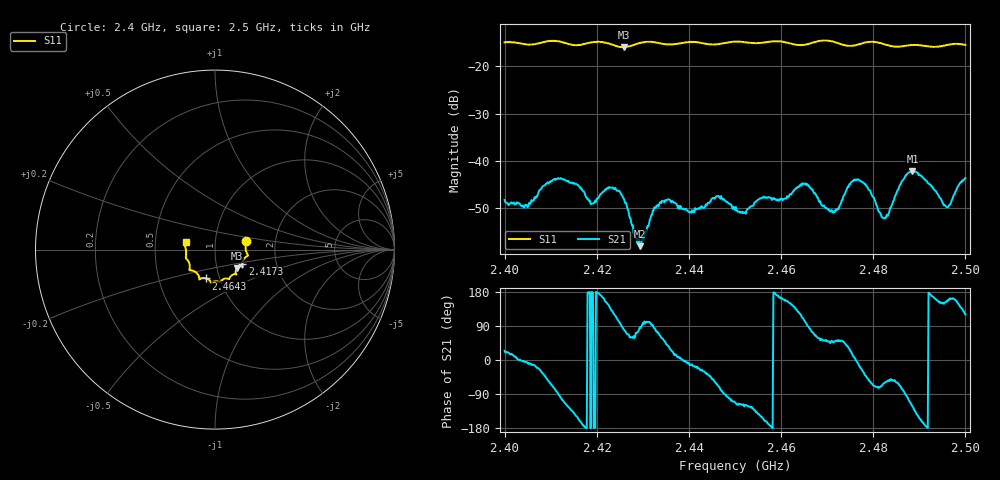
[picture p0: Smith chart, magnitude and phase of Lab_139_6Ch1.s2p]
# Hz S RI R 50
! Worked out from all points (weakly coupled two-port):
!   601 points, 2.4 GHz to 2.5 GHz, reference 50 ohm
!   highest |S21| = -42.17 dB at 2.4885 GHz (marker M1); lowest = -58.2 dB at 2.4293 GHz (marker M2)
!   lowest |S11| = -15.9 dB at 2.4258 GHz (marker M3), VSWR 1.38, Z = 62.3 - j13.3 ohm
!   |S11| at or under -10 dB: start of sweep to end of sweep
!   S12 and S22 are empty: the file has one direction only
!   S11 on the Smith chart (normalised r, x): 2.4 GHz: 1.41, +0.15; 2.4173 GHz: 1.34, -0.23; 2.4643 GHz: 0.86, -0.28; 2.5 GHz: 0.72, +0.06
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2.4e9  0.1733 0.0498  0.00348 0.00159  0 0  0 0
2.404667e9  0.1704 0.0174  0.0034 -0.000277  0 0  0 0
2.411667e9  0.1813 -0.0355  -7.44e-07 -0.00651  0 0  0 0
2.416667e9  0.1528 -0.0748  -0.0049 -0.00127  0 0  0 0
2.417333e9  0.152 -0.0821  -0.00455 -0.000337  0 0  0 0
2.419167e9  0.1538 -0.0955  -0.00351 0.000124  0 0  0 0
2.423167e9  0.1439 -0.0932  -0.00338 0.00389  0 0  0 0
2.425833e9  0.1215 -0.1037  0.000639 0.00393  0 0  0 0
2.429333e9  0.1168 -0.1333  8.37e-05 0.00123  0 0  0 0
2.433333e9  0.1128 -0.1368  0.000981 0.00312  0 0  0 0
2.440667e9  0.0787 -0.1643  0.00291 -0.000594  0 0  0 0
2.4465e9  0.0439 -0.1669  0.00137 -0.00389  0 0  0 0
2.45e9  0.0296 -0.1808  -0.00109 -0.00279  0 0  0 0
2.464333e9  -0.05 -0.1605  -0.00267 0.00495  0 0  0 0
2.466667e9  -0.0762 -0.16  0.00133 0.00473  0 0  0 0
2.471167e9  -0.0872 -0.1617  0.0019 0.00211  0 0  0 0
2.476667e9  -0.1234 -0.1174  0.0063 -0.000928  0 0  0 0
2.482e9  -0.141 -0.1023  0.00102 -0.00227  0 0  0 0
2.483333e9  -0.1407 -0.0896  0.00163 -0.0022  0 0  0 0
2.4885e9  -0.1617 -0.0485  -0.00415 -0.00659  0 0  0 0
2.495833e9  -0.1669 0.0182  -0.0029 0.00146  0 0  0 0
2.5e9  -0.1637 0.0419  -0.00332 0.00565  0 0  0 0
